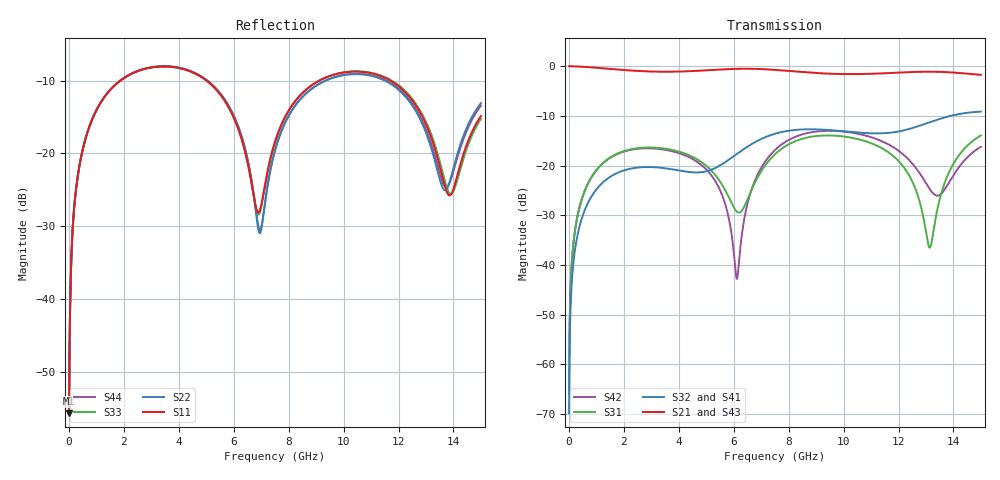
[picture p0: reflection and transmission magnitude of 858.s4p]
! Created with skrf 1.8.0 (http://scikit-rf.org).
# GHz S RI R 50.0
!freq ReS11 ImS11 ReS12 ImS12 ReS13 ImS13
! ReS14 ImS14
! ReS21 ImS21 ReS22 ImS22 ReS23 ImS23
! ReS24 ImS24
! ReS31 ImS31 ReS32 ImS32 ReS33 ImS33
! ReS34 ImS34
! ReS41 ImS41 ReS42 ImS42 ReS43 ImS43
! ReS44 ImS44
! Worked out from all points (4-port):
!   2499 points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, 5 MHz to 15 GHz, reference 50 ohm
!   strongest paths, dB at 5 MHz, 3.476 GHz, 7.19 GHz, 11.1 GHz, 15 GHz:
!     S21: 0.0, -1.1, -0.7, -1.5, -1.8
!     S43: 0.0, -1.1, -0.7, -1.5, -1.7
!     S32: -69.8, -20.5, -14.2, -13.5, -9.2
!     S41: -69.8, -20.5, -14.2, -13.5, -9.1
!     S31: -65.9, -16.6, -19.6, -15.7, -13.9
!     S42: -65.9, -16.8, -18.8, -14.5, -16.2
!   lowest |S11| = -55.7 dB at 5 MHz (marker M1), VSWR 1.00, Z = 50.1 + j0.0993 ohm
!   |S11| at or under -10 dB: start of sweep to 1.871 GHz; 5.007 GHz to 9.119 GHz (4.112 GHz wide, 58.2 % of centre); 11.7 GHz to end of sweep
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0.005  0.0013 0.000991  0.9987 -0.00253  6.4e-05 0.000504  -6.22e-05 -0.000317
       0.9987 -0.00253  0.0013 0.000991  -6.22e-05 -0.000317  6.39e-05 0.000504
       6.4e-05 0.000504  -6.22e-05 -0.000317  0.0013 0.000991  0.9987 -0.00253
       -6.22e-05 -0.000317  6.39e-05 0.000504  0.9987 -0.00253  0.0013 0.000991
0.3626511  0.0203 0.0759  0.9722 -0.1831  0.0093 0.035  -0.00764 -0.0219
           0.9722 -0.1831  0.0203 0.0759  -0.00764 -0.0219  0.00903 0.035
           0.0093 0.035  -0.00764 -0.0219  0.0203 0.0759  0.9722 -0.1831
           -0.00764 -0.0219  0.00903 0.035  0.9722 -0.1831  0.0203 0.0759
1.875782  0.2565 0.1857  0.5778 -0.7144  0.1217 0.0605  -0.0863 -0.0108
          0.5778 -0.7144  0.2579 0.1848  -0.0863 -0.0109  0.1177 0.0655
          0.1217 0.0605  -0.0863 -0.0109  0.2566 0.1857  0.5778 -0.7145
          -0.0863 -0.0108  0.1177 0.0655  0.5778 -0.7145  0.2579 0.1849
6.871613  0.0388 -0.00666  -0.9338 -0.0734  -0.0226 0.0728  -0.00953 0.1774
          -0.9338 -0.0734  0.0276 -0.0162  -0.0108 0.1774  0.0228 0.0782
          -0.0226 0.0728  -0.0108 0.1774  0.0376 -0.00776  -0.9338 -0.0734
          -0.00953 0.1774  0.0228 0.0782  -0.9338 -0.0734  0.0289 -0.0173
11.02334  0.3434 -0.0876  0.1063 0.8309  0.1511 -0.0708  0.1888 -0.095
          0.1063 0.8309  0.3329 -0.0708  0.1893 -0.093  0.1463 -0.1244
          0.1511 -0.0708  0.1893 -0.093  0.3467 -0.0876  0.1072 0.8295
          0.1888 -0.095  0.1463 -0.1244  0.1072 0.8295  0.3354 -0.0729
13.13672  0.0825 -0.1091  0.7749 0.4146  0.0149 0.000627  0.1185 -0.246
          0.7749 0.4146  0.0814 -0.0845  0.1215 -0.2442  -0.0468 -0.0346
          0.0149 0.000627  0.1215 -0.2442  0.0856 -0.1157  0.774 0.4142
          0.1185 -0.246  -0.0468 -0.0346  0.774 0.4142  0.0853 -0.0909
15  0.1383 0.1159  0.7589 -0.3023  0.1786 0.0921  -0.1722 -0.3036
    0.7589 -0.3023  0.1674 0.1446  -0.168 -0.3054  0.0956 0.1214
    0.1786 0.0921  -0.168 -0.3054  0.134 0.1087  0.7601 -0.3036
    -0.1722 -0.3036  0.0956 0.1214  0.7601 -0.3036  0.1653 0.1344
